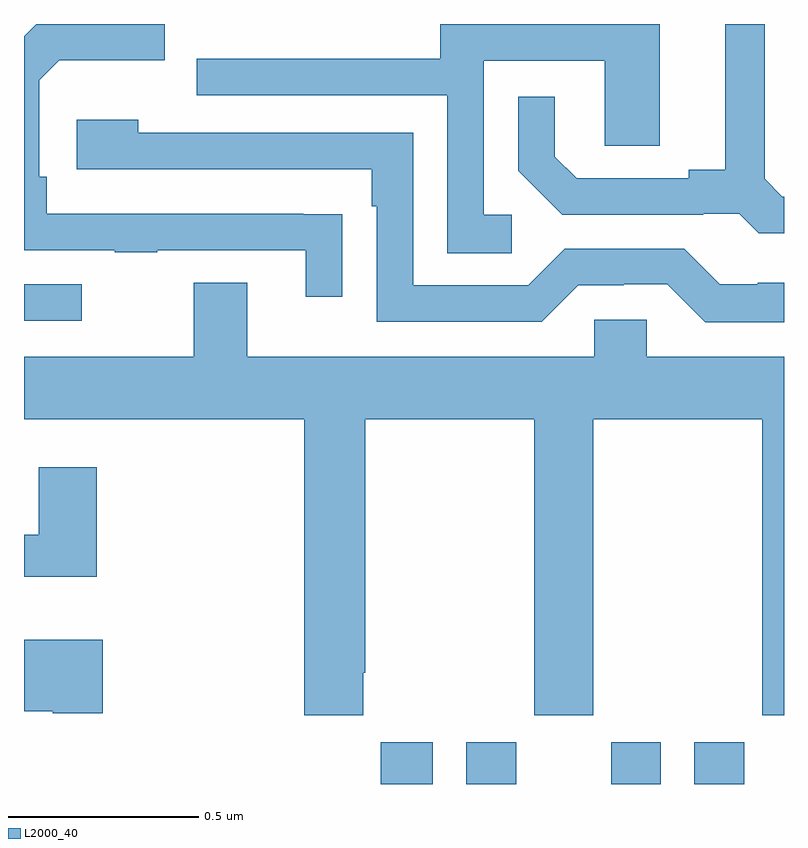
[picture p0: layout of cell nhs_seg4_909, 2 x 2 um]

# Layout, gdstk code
import gdstk
lib = gdstk.Library(unit=1e-6, precision=1e-09)
def R(c, l, rs):  # rectangles x0, y0, x1, y1
    for r in rs: c.add(gdstk.rectangle(r[:2], r[2:], *l))
def P(c, l, *ps):  # polygons
    for p in ps: c.add(gdstk.Polygon(p, *l))
L2000_40 = (2000, 40)

nhs_seg4_909 = lib.new_cell('nhs_seg4_909')
R(nhs_seg4_909, L2000_40, [(122.939,755.9,123.076,756.01), (123.164,755.9,123.295,756.01), (123.545,755.9,123.676,756.01), (123.764,755.9,123.895,756.01), (122,757.119,122.152,757.215)])
P(nhs_seg4_909, L2000_40, [(124,757.446),(123.996,757.446),(123.949,757.493),(123.949,757.9),(123.845,757.9),(123.845,757.517),(123.749,757.517),(123.749,757.494),(123.454,757.494),(123.397,757.551),(123.397,757.708),(123.3,757.708),(123.3,757.514),(123.416,757.398),(123.788,757.398),(123.788,757.401),(123.882,757.401),(123.934,757.349),(124,757.349)],
  [(123.283,757.398),(123.21,757.398),(123.21,757.803),(123.528,757.803),(123.528,757.579),(123.673,757.579),(123.673,757.899),(123.349,757.899),(123.349,757.9),(123.095,757.9),(123.095,757.809),(122.455,757.809),(122.455,757.713),(123.114,757.713),(123.114,757.297),(123.283,757.297)],
  [(122.837,757.4),(122.735,757.4),(122.735,757.401),(122.06,757.401),(122.06,757.498),(122.04,757.498),(122.04,757.752),(122.093,757.805),(122.37,757.805),(122.37,757.9),(122.032,757.9),(122,757.868),(122,757.305),(122.239,757.305),(122.239,757.3),(122.351,757.3),(122.351,757.305),(122.741,757.305),(122.741,757.182),(122.837,757.182)],
  [(124,757.219),(123.931,757.219),(123.931,757.215),(123.831,757.215),(123.738,757.308),(123.423,757.308),(123.327,757.212),(123.024,757.212),(123.024,757.614),(122.3,757.614),(122.3,757.648),(122.139,757.648),(122.139,757.518),(122.915,757.518),(122.915,757.421),(122.928,757.421),(122.928,757.116),(123.363,757.116),(123.459,757.212),(123.578,757.212),(123.578,757.215),(123.693,757.215),(123.793,757.115),(124,757.115)],
  [(122.893,756.193),(122.898,756.193),(122.898,756.86),(123.343,756.86),(123.343,756.081),(123.498,756.081),(123.498,756.86),(123.943,756.86),(123.943,756.081),(124,756.081),(124,757.024),(123.639,757.024),(123.639,757.122),(123.501,757.122),(123.501,757.024),(122.587,757.024),(122.587,757.219),(122.447,757.219),(122.447,757.024),(122,757.024),(122,756.86),(122.738,756.86),(122.738,756.081),(122.893,756.081)],
  [(122.192,756.733),(122.039,756.733),(122.039,756.556),(122,756.556),(122,756.446),(122.192,756.446)],
  [(122.207,756.28),(122,756.28),(122,756.092),(122.076,756.092),(122.076,756.086),(122.207,756.086)])

lib.write_gds('nhs_seg4_909.gds')
